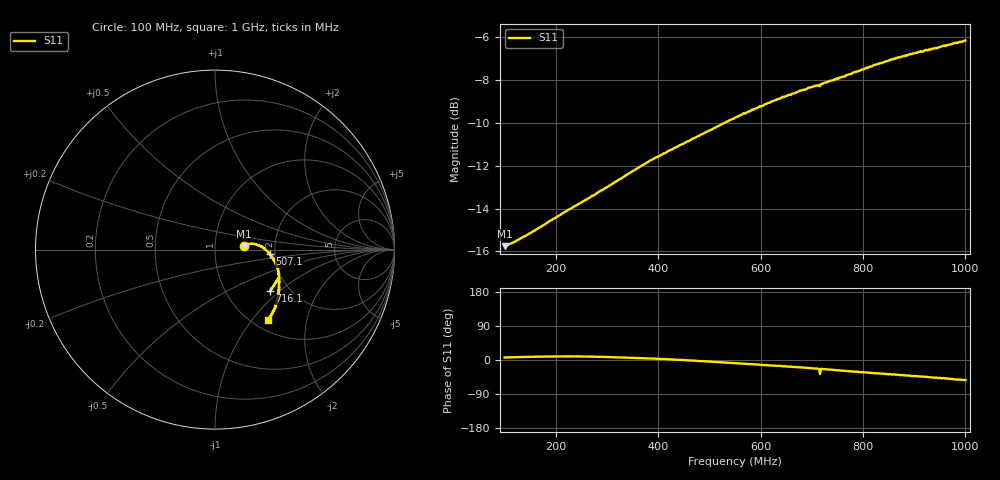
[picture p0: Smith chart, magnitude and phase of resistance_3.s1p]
# HZ S RI R 50
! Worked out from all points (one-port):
!   505 points, 100 MHz to 1 GHz, reference 50 ohm
!   lowest |S11| = -15.8 dB at 100 MHz (marker M1), VSWR 1.39, Z = 69.3 + j2.69 ohm
!   |S11| at or under -10 dB: start of sweep to 529.9 MHz
!   S11 on the Smith chart (normalised r, x): 100 MHz: 1.39, +0.05; 507.1 MHz: 1.88, -0.11; 716.1 MHz: 1.60, -0.87; 1 GHz: 1.17, -1.21
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1e8  0.1619 0.0189
1.428571e8  0.1712 0.0246
2.125e8  0.1919 0.0319
2.714285e8  0.2114 0.0327
3.25e8  0.232 0.0271
3.946428e8  0.2618 0.0154
4.374999e8  0.2783 0.00297
5.071428e8  0.3054 -0.026
5.499999e8  0.3216 -0.0483
6.124999e8  0.3408 -0.0833
6.624999e8  0.3515 -0.1151
7.107142e8  0.3566 -0.148
7.124999e8  0.3555 -0.1515
7.160713e8  0.3071 -0.232
7.196428e8  0.358 -0.1553
7.214285e8  0.3566 -0.1576
7.232142e8  0.3564 -0.162
7.749999e8  0.3563 -0.2043
8.214285e8  0.3555 -0.2446
8.339285e8  0.3524 -0.2571
8.464285e8  0.3516 -0.2648
8.874999e8  0.3442 -0.2979
8.964284e8  0.338 -0.3087
9.232142e8  0.3358 -0.3257
9.374999e8  0.3248 -0.3412
9.624999e8  0.3131 -0.364
9.80357e8  0.3046 -0.3781
9.999999e8  0.297 -0.3924
